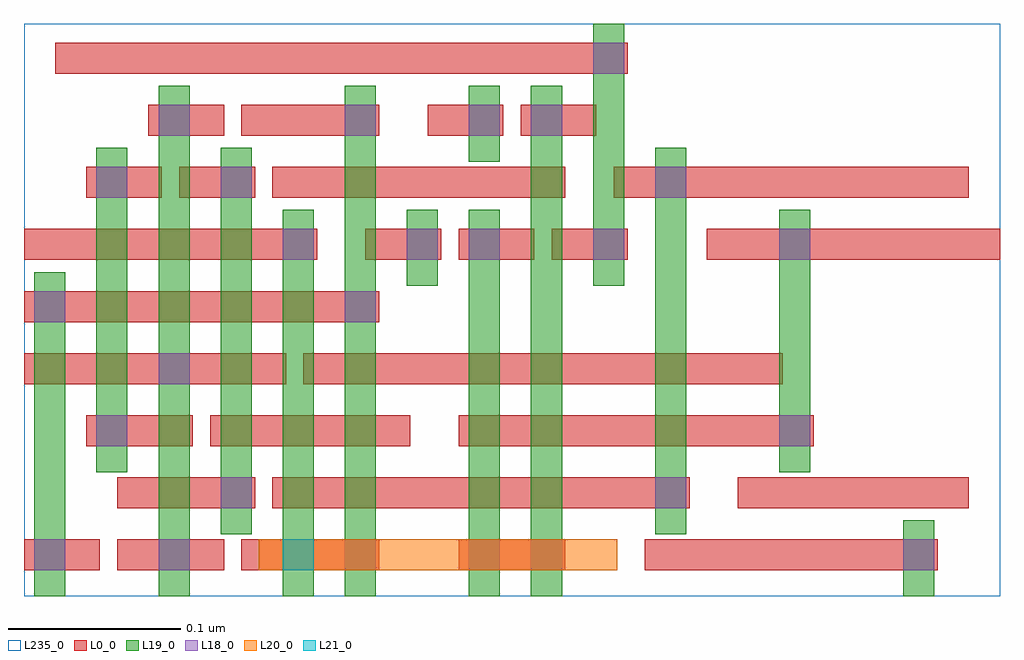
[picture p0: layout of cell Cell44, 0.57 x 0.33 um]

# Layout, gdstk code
import gdstk
lib = gdstk.Library(unit=1e-6, precision=2.5e-10)
def R(c, l, rs):  # rectangles x0, y0, x1, y1
    for r in rs: c.add(gdstk.rectangle(r[:2], r[2:], *l))
def A(c, l, x, y, w, h, nx, ny, dx, dy):  # array of equal rectangles
    R(c, l, [(x+i*dx, y+j*dy, x+i*dx+w, y+j*dy+h) for i in range(nx) for j in range(ny)])
L0_0 = (0, 0)
L18_0 = (18, 0)
L19_0 = (19, 0)
L20_0 = (20, 0)
L21_0 = (21, 0)
L235_0 = (235, 0)

cell44 = lib.new_cell('Cell44')
A(cell44, L0_0, 0.202, 0.179, 0.044, 0.018, 3, 1, 0.054, 0)
R(cell44, L0_0, [(0.004,-0.001,0.048,0.017), (0.058,-0.001,0.12,0.017), (0.13,-0.001,0.21,0.017), (0.256,-0.001,0.318,0.017), (0.364,-0.001,0.534,0.017), (0.058,0.035,0.138,0.053), (0.148,0.035,0.39,0.053), (0.418,0.035,0.552,0.053), (0.04,0.071,0.102,0.089), (0.112,0.071,0.228,0.089), (0.256,0.071,0.462,0.089), (0.004,0.107,0.156,0.125), (0.166,0.107,0.444,0.125), (0.004,0.143,0.21,0.161), (0.004,0.179,0.174,0.197), (0.4,0.179,0.57,0.197), (0.04,0.215,0.084,0.233), (0.094,0.215,0.138,0.233), (0.148,0.215,0.318,0.233), (0.346,0.215,0.552,0.233), (0.076,0.251,0.12,0.269), (0.13,0.251,0.21,0.269), (0.238,0.251,0.282,0.269), (0.292,0.251,0.336,0.269), (0.022,0.287,0.354,0.305)])
R(cell44, L18_0, [(0.01,-0.001,0.028,0.017), (0.082,-0.001,0.1,0.017), (0.19,-0.001,0.208,0.017), (0.262,-0.001,0.28,0.017), (0.298,-0.001,0.316,0.017), (0.514,-0.001,0.532,0.017), (0.118,0.035,0.136,0.053), (0.37,0.035,0.388,0.053), (0.046,0.071,0.064,0.089), (0.442,0.071,0.46,0.089), (0.082,0.107,0.1,0.125), (0.01,0.143,0.028,0.161), (0.19,0.143,0.208,0.161), (0.154,0.179,0.172,0.197), (0.226,0.179,0.244,0.197), (0.262,0.179,0.28,0.197), (0.334,0.179,0.352,0.197), (0.442,0.179,0.46,0.197), (0.046,0.215,0.064,0.233), (0.118,0.215,0.136,0.233), (0.37,0.215,0.388,0.233), (0.082,0.251,0.1,0.269), (0.19,0.251,0.208,0.269), (0.262,0.251,0.28,0.269), (0.298,0.251,0.316,0.269), (0.334,0.287,0.352,0.305)])
A(cell44, L19_0, 0.082, -0.016, 0.018, 0.296, 3, 1, 0.108, 0)
R(cell44, L19_0, [(0.01,-0.016,0.028,0.172), (0.154,-0.016,0.172,0.208), (0.262,-0.016,0.28,0.208), (0.514,-0.016,0.532,0.028), (0.118,0.02,0.136,0.244), (0.37,0.02,0.388,0.244), (0.046,0.056,0.064,0.244), (0.442,0.056,0.46,0.208), (0.226,0.164,0.244,0.208), (0.334,0.164,0.352,0.316), (0.262,0.236,0.28,0.28)])
R(cell44, L20_0, [(0.14,-0.001,0.348,0.017)])
R(cell44, L21_0, [(0.154,-0.001,0.172,0.017)])
R(cell44, L235_0, [(0.004,-0.016,0.57,0.316)])

lib.write_gds('Cell44.gds')
